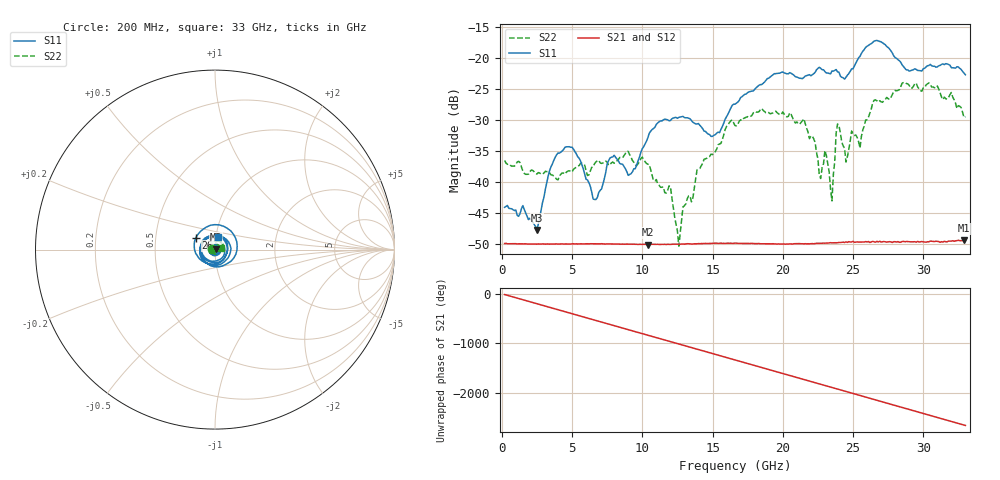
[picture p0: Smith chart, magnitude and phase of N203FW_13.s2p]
# GHZ S RI R 50
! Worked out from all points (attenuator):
!   329 points, 200 MHz to 33 GHz, reference 50 ohm
!   highest |S21| = -49.42 dB at 32.9 GHz (marker M1); lowest = -50.1 dB at 10.4 GHz (marker M2)
!   lowest |S11| = -47.8 dB at 2.5 GHz (marker M3), VSWR 1.01, Z = 50.3 + j0.241 ohm
!   |S11| at or under -10 dB: start of sweep to end of sweep
!   |S22| runs from -50.4 to -23.9 dB; largest |S21 - S12| = 8.8e-05
!   S11 on the Smith chart (normalised r, x): 200 MHz: 1.01, +0.00; 26 GHz: 0.80, +0.11; 33 GHz: 1.02, +0.15
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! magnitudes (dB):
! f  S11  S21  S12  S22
! 200 MHz  -44.1  -50.0  -49.9  -36.5
! 2.5 GHz  -47.8  -50.1  -50.0  -38.7
! 3.9 GHz  -35.6  -50.0  -50.0  -39.6
! 5.7 GHz  -37.2  -50.0  -50.0  -37.0
! 6.7 GHz  -42.8  -50.0  -50.0  -36.8
! 10.4 GHz  -32.8  -50.1  -50.1  -37.1
! 11.2 GHz  -30.3  -50.1  -50.1  -40.5
! 12 GHz  -30.1  -50.1  -50.1  -40.7
! 12.6 GHz  -29.6  -50.1  -50.0  -50.4
! 13.9 GHz  -30.6  -50.0  -50.0  -38.0
! 16.6 GHz  -27.4  -49.9  -49.9  -30.9
! 22.1 GHz  -22.6  -50.0  -50.0  -32.5
! 22.7 GHz  -21.6  -49.9  -49.9  -39.4
! 23.1 GHz  -22.4  -49.9  -49.9  -35.7
! 23.5 GHz  -22.0  -49.9  -49.8  -43.1
! 23.9 GHz  -22.2  -49.8  -49.8  -30.6
! 24.5 GHz  -23.1  -49.7  -49.7  -36.8
! 26 GHz  -18.0  -49.7  -49.7  -29.9
! 27.6 GHz  -18.5  -49.7  -49.7  -26.6
! 30.4 GHz  -21.2  -49.7  -49.7  -24.0
! 32.9 GHz  -22.4  -49.4  -49.4  -29.6
! 33 GHz  -22.6  -49.5  -49.5  -29.4
